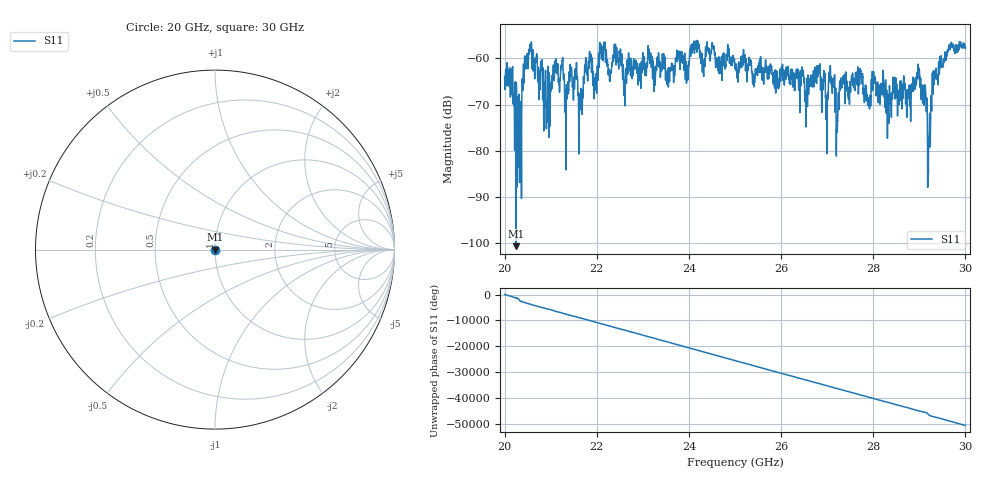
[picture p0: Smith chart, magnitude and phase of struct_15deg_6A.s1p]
#  HZ  S  RI  R  50.00
! Rohde & Schwarz ZVA40 4Ports - Version 3.90 - 1145.1110k42 SN: 100403
! Date: 2023-09-30 06:27:08
! Measurement: S12
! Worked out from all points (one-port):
!   5001 points, 20 GHz to 30 GHz, reference 50 ohm
!   lowest |S11| = -100.6 dB at 20.24 GHz (marker M1), VSWR 1.00, Z = 50 + j0.000595 ohm
!   |S11| at or under -10 dB: start of sweep to end of sweep
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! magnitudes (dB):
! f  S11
! 20 GHz  -63.9
! 20.24 GHz  -100.6
! 20.32 GHz  -69.8
! 20.42 GHz  -64.6
! 20.57 GHz  -58.4
! 20.89 GHz  -62.9
! 21.25 GHz  -60.5
! 21.34 GHz  -65.7
! 21.55 GHz  -63.8
! 21.65 GHz  -68.1
! 21.86 GHz  -60.7
! 21.96 GHz  -64.7
! 22.11 GHz  -59.3
! 22.29 GHz  -65.0
! 22.5 GHz  -60.2
! 22.61 GHz  -67.4
! 23.75 GHz  -60.7
! 25 GHz  -61.8
! 26.25 GHz  -63.1
! 27.09 GHz  -64.5
! 27.22 GHz  -74.8
! 27.31 GHz  -66.4
! 27.5 GHz  -66.8
! 28.75 GHz  -67.9
! 28.98 GHz  -63.8
! 29.22 GHz  -74.2
! 29.33 GHz  -64.0
! 30 GHz  -57.6
